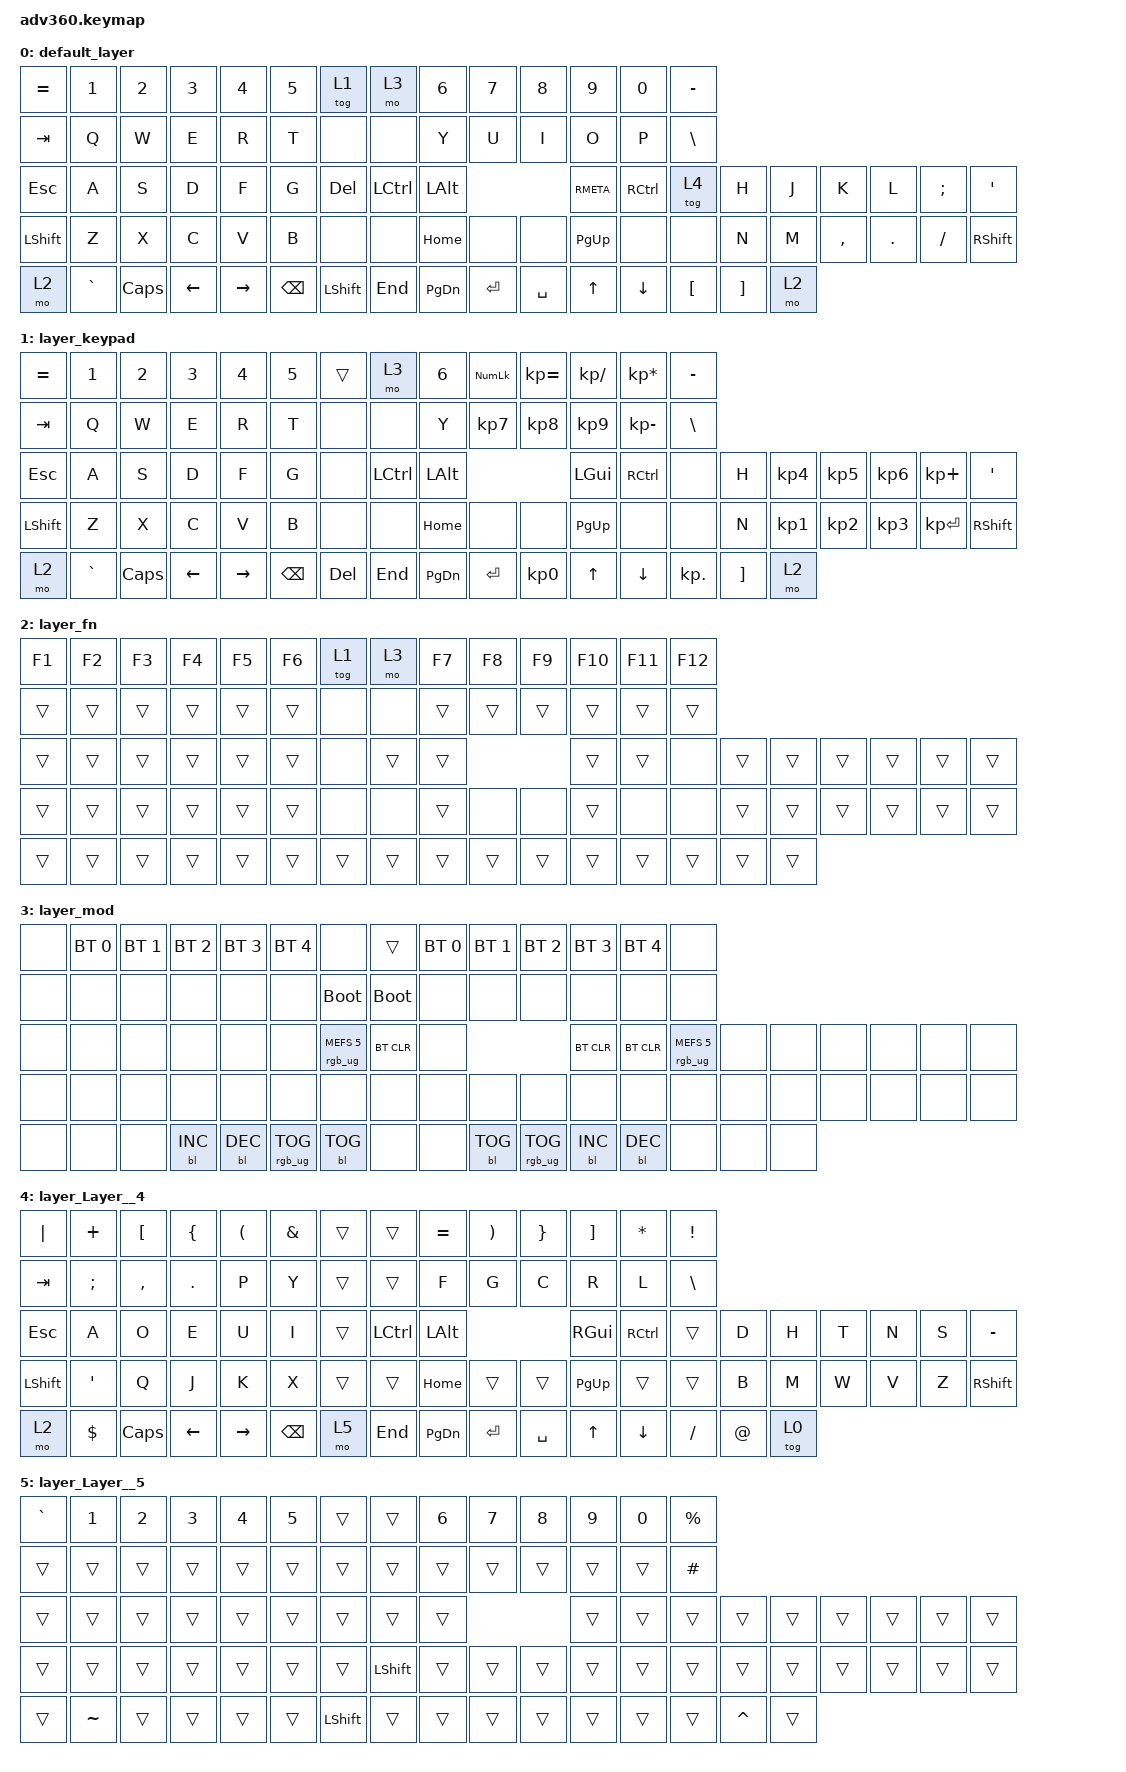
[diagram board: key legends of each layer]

/*
 * Copyright (c) 2020 The ZMK Contributors
 *
 * SPDX-License-Identifier: MIT
 */


/* THIS FILE WAS GENERATED!
 *
 * This file was generated automatically. You may or may not want to
 * edit it directly.
 */

#include <behaviors.dtsi>
#include <dt-bindings/zmk/keys.h>
#include <dt-bindings/zmk/bt.h>
#include <dt-bindings/zmk/rgb.h>
#include <dt-bindings/zmk/backlight.h>

/ {
  behaviors {
    #include "macros.dtsi"

    hm: homerow_mods {
        compatible = "zmk,behavior-hold-tap";
        label = "HOMEROW_MODS";
        #binding-cells = <2>;
        tapping-term-ms = <200>;
        quick_tap_ms = <175>;
        flavor = "tap-preferred";
        bindings = <&kp>, <&kp>;
    };
  };

    keymap {
        compatible = "zmk,keymap";


        default_layer {
            bindings = <
 &kp EQUAL     &kp N1    &kp N2    &kp N3     &kp N4    &kp N5                    &tog 1      &mo 3     &kp N6     &kp N7     &kp N8     &kp N9     &kp N0  &kp MINUS
   &kp TAB      &kp Q     &kp W     &kp E      &kp R     &kp T                     &none      &none      &kp Y      &kp U      &kp I      &kp O      &kp P   &kp BSLH
   &kp ESC      &kp A     &kp S     &kp D      &kp F     &kp G                   &kp DEL  &kp LCTRL   &kp LALT                        &kp RMETA  &kp RCTRL     &tog 4     &kp H   &kp J      &kp K    &kp L  &kp SEMI    &kp SQT
 &kp LSHFT      &kp Z     &kp X     &kp C      &kp V     &kp B                     &none      &none   &kp HOME      &none      &none  &kp PG_UP      &none      &none     &kp N   &kp M  &kp COMMA  &kp DOT  &kp FSLH  &kp RSHFT
     &mo 2  &kp GRAVE  &kp CAPS  &kp LEFT  &kp RIGHT  &kp BSPC            &kp LEFT_SHIFT    &kp END  &kp PG_DN  &kp ENTER  &kp SPACE     &kp UP   &kp DOWN   &kp LBKT  &kp RBKT   &mo 2
            >;
        };

        layer_keypad {
            bindings = <
 &kp EQUAL     &kp N1    &kp N2    &kp N3     &kp N4    &kp N5             &trans      &mo 3     &kp N6  &kp KP_NUM  &kp KP_EQUAL  &kp KP_DIVIDE  &kp KP_MULTIPLY   &kp MINUS
   &kp TAB      &kp Q     &kp W     &kp E      &kp R     &kp T              &none      &none      &kp Y   &kp KP_N7     &kp KP_N8      &kp KP_N9     &kp KP_MINUS    &kp BSLH
   &kp ESC      &kp A     &kp S     &kp D      &kp F     &kp G              &none  &kp LCTRL   &kp LALT                                 &kp LGUI        &kp RCTRL       &none     &kp H  &kp KP_N4  &kp KP_N5  &kp KP_N6   &kp KP_PLUS    &kp SQT
 &kp LSHFT      &kp Z     &kp X     &kp C      &kp V     &kp B              &none      &none   &kp HOME       &none         &none      &kp PG_UP            &none       &none     &kp N  &kp KP_N1  &kp KP_N2  &kp KP_N3  &kp KP_ENTER  &kp RSHFT
     &mo 2  &kp GRAVE  &kp CAPS  &kp LEFT  &kp RIGHT  &kp BSPC            &kp DEL    &kp END  &kp PG_DN   &kp ENTER     &kp KP_N0         &kp UP         &kp DOWN  &kp KP_DOT  &kp RBKT      &mo 2
            >;
        };

        layer_fn {
            bindings = <
 &kp F1  &kp F2  &kp F3  &kp F4  &kp F5  &kp F6            &tog 1   &mo 3  &kp F7  &kp F8  &kp F9  &kp F10  &kp F11  &kp F12
 &trans  &trans  &trans  &trans  &trans  &trans             &none   &none  &trans  &trans  &trans   &trans   &trans   &trans
 &trans  &trans  &trans  &trans  &trans  &trans             &none  &trans  &trans                   &trans   &trans    &none  &trans  &trans  &trans  &trans  &trans  &trans
 &trans  &trans  &trans  &trans  &trans  &trans             &none   &none  &trans   &none   &none   &trans    &none    &none  &trans  &trans  &trans  &trans  &trans  &trans
 &trans  &trans  &trans  &trans  &trans  &trans            &trans  &trans  &trans  &trans  &trans   &trans   &trans   &trans  &trans  &trans
            >;
        };

        layer_mod {
            bindings = <
  &none  &bt BT_SEL 0  &bt BT_SEL 1  &bt BT_SEL 2  &bt BT_SEL 3     &bt BT_SEL 4                             &none       &trans  &bt BT_SEL 0  &bt BT_SEL 1     &bt BT_SEL 2  &bt BT_SEL 3  &bt BT_SEL 4                   &none
  &none         &none         &none         &none         &none            &none                       &bootloader  &bootloader         &none         &none            &none         &none         &none                   &none
  &none         &none         &none         &none         &none            &none            &rgb_ug RGB_MEFS_CMD 5   &bt BT_CLR         &none                                   &bt BT_CLR    &bt BT_CLR  &rgb_ug RGB_MEFS_CMD 5   &none   &none   &none   &none   &none   &none
  &none         &none         &none         &none         &none            &none                             &none        &none         &none         &none            &none         &none         &none                   &none   &none   &none   &none   &none   &none   &none
  &none         &none         &none    &bl BL_INC    &bl BL_DEC  &rgb_ug RGB_TOG                        &bl BL_TOG        &none         &none    &bl BL_TOG  &rgb_ug RGB_TOG    &bl BL_INC    &bl BL_DEC                   &none   &none   &none
            >;
        };

        layer_Layer__4 {
            bindings = <
       &kp PIPE          &kp PLUS  &kp LEFT_BRACKET  &kp LEFT_BRACE  &kp LEFT_PARENTHESIS  &kp AMPERSAND            &trans            &trans      &kp EQUAL  &kp RIGHT_PARENTHESIS  &kp RIGHT_BRACE  &kp RIGHT_BRACKET       &kp ASTERISK  &kp EXCLAMATION
        &kp TAB     &kp SEMICOLON         &kp COMMA      &kp PERIOD                 &kp P          &kp Y            &trans            &trans          &kp F                  &kp G            &kp C              &kp R              &kp L    &kp BACKSLASH
     &kp ESCAPE             &kp A             &kp O           &kp E                 &kp U          &kp I            &trans  &kp LEFT_CONTROL   &kp LEFT_ALT                                              &kp RIGHT_GUI  &kp RIGHT_CONTROL           &trans   &kp D   &kp H   &kp T   &kp N   &kp S        &kp MINUS
 &kp LEFT_SHIFT  &kp SINGLE_QUOTE             &kp Q           &kp J                 &kp K          &kp X            &trans            &trans       &kp HOME                 &trans           &trans        &kp PAGE_UP             &trans           &trans   &kp B   &kp M   &kp W   &kp V   &kp Z  &kp RIGHT_SHIFT
          &mo 2        &kp DOLLAR          &kp CAPS  &kp LEFT_ARROW       &kp RIGHT_ARROW  &kp BACKSPACE             &mo 5           &kp END  &kp PAGE_DOWN              &kp ENTER        &kp SPACE       &kp UP_ARROW     &kp DOWN_ARROW        &kp SLASH  &kp AT  &tog 0
            >;
        };

        layer_Layer__5 {
            bindings = <
 &kp GRAVE     &kp N1  &kp N2  &kp N3  &kp N4  &kp N5                    &trans          &trans  &kp N6  &kp N7  &kp N8  &kp N9  &kp N0  &kp PERCENT
    &trans     &trans  &trans  &trans  &trans  &trans                    &trans          &trans  &trans  &trans  &trans  &trans  &trans    &kp POUND
    &trans     &trans  &trans  &trans  &trans  &trans                    &trans          &trans  &trans                  &trans  &trans       &trans     &trans  &trans  &trans  &trans  &trans  &trans
    &trans     &trans  &trans  &trans  &trans  &trans                    &trans  &kp LEFT_SHIFT  &trans  &trans  &trans  &trans  &trans       &trans     &trans  &trans  &trans  &trans  &trans  &trans
    &trans  &kp TILDE  &trans  &trans  &trans  &trans            &kp LEFT_SHIFT          &trans  &trans  &trans  &trans  &trans  &trans       &trans  &kp CARET  &trans
            >;
        };

    };
};
